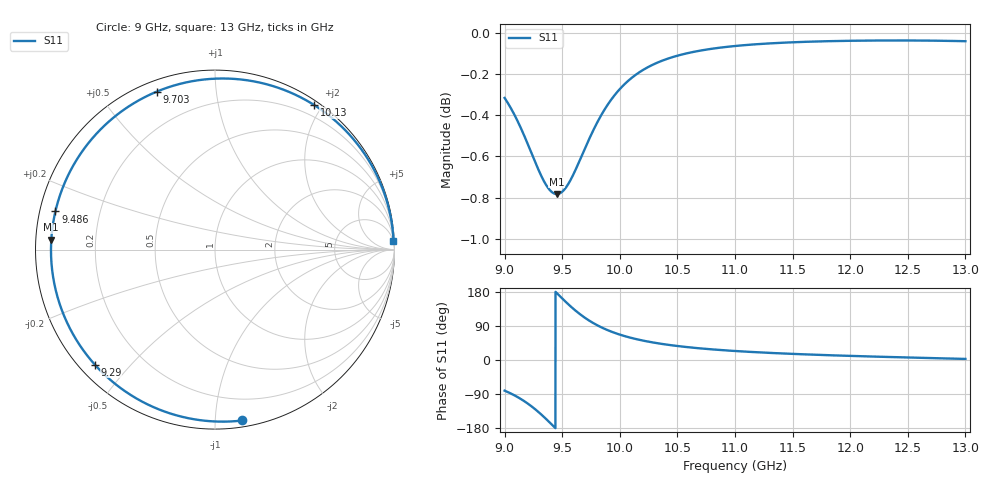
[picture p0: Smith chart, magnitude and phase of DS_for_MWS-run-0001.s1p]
! TOUCHSTONE file generated by CST DESIGN STUDIO
! Date and time: Tue Feb  4 17:07:56 2025
! Project name: C:\Work\MatlabApps\UnitCellOptimizationMatlab\CST\unitcell.cst
! Tree item: Tasks\Sweep1\SPara1\S-Parameters
! Header version: 2024
! Port assignment regex: !\s*Touchstone port\s*([0-9]+)\s*=\s*(CST MWS port|CST DES external port|CST DES block port)\s*(.+)\s* \(\"(.*)\"\)(\s*mode\s*([0-9]+))?.*
! Touchstone port assignment:
! Touchstone port 1 = CST DES external port 1 ("")
# GHz S MA R 50
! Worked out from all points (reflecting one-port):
!   4001 points, 9 GHz to 13 GHz, reference 50 ohm
!   lowest |S11| = -0.8 dB at 9.453 GHz (marker M1), VSWR 22.19, Z = 2.26 + j1.5 ohm
!   phase of S11 starts at -81 deg and turns -276 deg over the sweep
!   S11 on the Smith chart (normalised r, x): 9 GHz: 0.04, -1.17; 9.29 GHz: 0.04, -0.40; 9.486 GHz: 0.05, +0.12; 9.703 GHz: 0.05, +0.70; 10.13 GHz: 0.05, +1.89; 13 GHz: 4, +40
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9  0.9643 -80.9
9.089  0.9548 -93.8
9.162  0.9453 -106.9
9.228  0.9358 -121.0
9.29  0.9268 -136.2
9.332  0.9215 -147.6
9.377  0.917 -160.6
9.415  0.9146 -171.9
9.453  0.9137 176.6
9.486  0.9143 166.6
9.5  0.915 162.4
9.554  0.9191 146.7
9.603  0.9246 133.5
9.652  0.9311 121.5
9.703  0.9381 110.2
9.76  0.9457 99.2
9.825  0.9535 88.4
9.91  0.962 76.8
10  0.9691 67.0
10.135  0.9767 55.7
10.3  0.9828 45.6
10.5  0.9873 36.9
10.723  0.9904 30.0
11  0.9927 23.8
11.5  0.9948 16.1
12  0.9956 10.8
12.5  0.9958 6.6
13  0.9954 2.8
